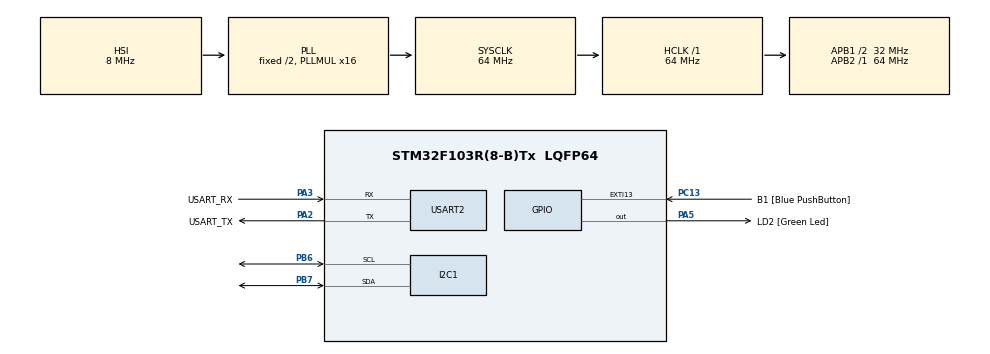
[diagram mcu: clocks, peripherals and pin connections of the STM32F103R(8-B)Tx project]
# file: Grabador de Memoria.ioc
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Mcu.Family=STM32F1
Mcu.Name=STM32F103R(8-B)Tx
Mcu.Package=LQFP64
NVIC.EXTI15_10_IRQn=true\:0\:0\:false\:false\:true\:true\:true\:true
NVIC.PriorityGroup=NVIC_PRIORITYGROUP_4
PA13.GPIO_Label=TMS
PA13.Mode=Serial_Wire
PA13.Signal=SYS_JTMS-SWDIO
PA14.GPIO_Label=TCK
PA14.Mode=Serial_Wire
PA14.Signal=SYS_JTCK-SWCLK
PA2.GPIO_Label=USART_TX
PA2.GPIO_Mode=GPIO_MODE_AF_PP
PA2.GPIO_PuPd=GPIO_NOPULL
PA2.GPIO_Speed=GPIO_SPEED_FREQ_LOW
PA2.Mode=Asynchronous
PA2.Signal=USART2_TX
PA3.GPIO_Label=USART_RX
PA3.GPIO_Mode=GPIO_MODE_AF_PP
PA3.GPIO_PuPd=GPIO_NOPULL
PA3.GPIO_Speed=GPIO_SPEED_FREQ_LOW
PA3.Mode=Asynchronous
PA3.Signal=USART2_RX
PA5.GPIO_Label=LD2 [Green Led]
PA5.GPIO_ModeDefaultOutputPP=GPIO_MODE_OUTPUT_PP
PA5.GPIO_PuPd=GPIO_NOPULL
PA5.GPIO_Speed=GPIO_SPEED_FREQ_LOW
PA5.Signal=GPIO_Output
PB3.GPIO_Label=SWO
PB3.Signal=SYS_JTDO-TRACESWO
PB6.Mode=I2C
PB6.Signal=I2C1_SCL
PB7.Mode=I2C
PB7.Signal=I2C1_SDA
PC13-TAMPER-RTC.GPIO_Label=B1 [Blue PushButton]
PC13-TAMPER-RTC.GPIO_PuPd=GPIO_NOPULL
PC13-TAMPER-RTC.Signal=GPXTI13
PC14-OSC32_IN.Mode=LSE-External-Oscillator
PC14-OSC32_IN.Signal=RCC_OSC32_IN
PC15-OSC32_OUT.Mode=LSE-External-Oscillator
PC15-OSC32_OUT.Signal=RCC_OSC32_OUT
PD0-OSC_IN.Mode=HSE-External-Clock-Source
PD0-OSC_IN.Signal=RCC_OSC_IN
PD1-OSC_OUT.Mode=HSE-External-Clock-Source
PD1-OSC_OUT.Signal=RCC_OSC_OUT
ProjectManager.HeapSize=0x200
ProjectManager.StackSize=0x400
ProjectManager.TargetToolchain=STM32CubeIDE
RCC.AHBFreq_Value=64000000
RCC.APB1CLKDivider=RCC_HCLK_DIV2
RCC.APB1Freq_Value=32000000
RCC.APB1TimFreq_Value=64000000
RCC.APB2Freq_Value=64000000
RCC.APB2TimFreq_Value=64000000
RCC.HCLKFreq_Value=64000000
RCC.PLLMUL=RCC_PLL_MUL16
RCC.RTCClockSelection=RCC_RTCCLKSOURCE_LSE
RCC.SYSCLKFreq_VALUE=64000000
RCC.SYSCLKSource=RCC_SYSCLKSOURCE_PLLCLK
RCC.USBFreq_Value=64000000
USART2.VirtualMode=VM_ASYNC
board=NUCLEO-F103RB

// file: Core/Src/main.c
/* USER CODE BEGIN Header */
/**
  ******************************************************************************
  * @file           : main.c
  * @brief          : Main program body
  ******************************************************************************
  * @attention
  *
  * Copyright (c) 2026 STMicroelectronics.
  * All rights reserved.
  *
  * This software is licensed under terms that can be found in the LICENSE file
  * in the root directory of this software component.
  * If no LICENSE file comes with this software, it is provided AS-IS.
  *
  ******************************************************************************
  */
/* USER CODE END Header */
#include "main.h"
#include "i2c.h"
#include "usart.h"
#include "gpio.h"

/* USER CODE BEGIN Includes */
#include "morse.h"
#include <stdint.h>
/* USER CODE END Includes */

/* USER CODE BEGIN PD */
#define READ
#define WRITE
/* USER CODE END PD */

void SystemClock_Config(void);

int main(void)
{

  /* MCU Configuration--------------------------------------------------------*/

  /* Reset of all peripherals, Initializes the Flash interface and the Systick. */
  HAL_Init();

  /* Configure the system clock */
  SystemClock_Config();

  /* Initialize all configured peripherals */
  MX_GPIO_Init();
  MX_I2C1_Init();
  MX_USART2_UART_Init();

  /* Infinite loop */
  while (1)
  {

    /* USER CODE BEGIN 3 */
	#ifdef WRITE
	  for (uint8_t i = 0 ; i < MORSE_TOTAL_SPACE_BYTES/2 ; i+=2 ){
		  EEPROM_WriteByte( i, error.morse);
		  EEPROM_WriteByte( i+1, error.symbol);
	  };

	  for (uint8_t i = 0 ; i < MORSE_TOTAL_CHARACTERS ; i++ ){
		EEPROM_WriteByte( morse_table[i].index*2, morse_table[i].morse);
		EEPROM_WriteByte( morse_table[i].index*2 + 1, morse_table[i].symbol);
	  };
	  for (uint8_t i = 0 ; i < MORSE_TOTAL_CHARACTERS ; i++ ){
		EEPROM_WriteByte( morse_table_alphabet[i].index*2 + MORSE_TOTAL_SPACE_BYTES + 2, morse_table_alphabet[i].morse);
		EEPROM_WriteByte( morse_table_alphabet[i].index*2 + 1 + MORSE_TOTAL_SPACE_BYTES + 2, morse_table_alphabet[i].symbol);
	  };

	#endif
	#ifdef READ
	  uint8_t caracter , morse;
	  morse = EEPROM_ReadByte(0);
	  caracter = EEPROM_ReadByte(1);

	  morse = EEPROM_ReadByte(2);
	  caracter = EEPROM_ReadByte(3);

	  morse = EEPROM_ReadByte(4);
	  caracter = EEPROM_ReadByte(5);

	#endif
	  break;
  }
  /* USER CODE END 3 */
}

void SystemClock_Config(void)
{
  RCC_OscInitTypeDef RCC_OscInitStruct = {0};
  RCC_ClkInitTypeDef RCC_ClkInitStruct = {0};

  /** Initializes the RCC Oscillators according to the specified parameters
  * in the RCC_OscInitTypeDef structure.
  */
  RCC_OscInitStruct.OscillatorType = RCC_OSCILLATORTYPE_HSI;
  RCC_OscInitStruct.HSIState = RCC_HSI_ON;
  RCC_OscInitStruct.HSICalibrationValue = RCC_HSICALIBRATION_DEFAULT;
  RCC_OscInitStruct.PLL.PLLState = RCC_PLL_ON;
  RCC_OscInitStruct.PLL.PLLSource = RCC_PLLSOURCE_HSI_DIV2;
  RCC_OscInitStruct.PLL.PLLMUL = RCC_PLL_MUL16;
  if (HAL_RCC_OscConfig(&RCC_OscInitStruct) != HAL_OK)
  {
    Error_Handler();
  }

  /** Initializes the CPU, AHB and APB buses clocks
  */
  RCC_ClkInitStruct.ClockType = RCC_CLOCKTYPE_HCLK|RCC_CLOCKTYPE_SYSCLK
                              |RCC_CLOCKTYPE_PCLK1|RCC_CLOCKTYPE_PCLK2;
  RCC_ClkInitStruct.SYSCLKSource = RCC_SYSCLKSOURCE_PLLCLK;
  RCC_ClkInitStruct.AHBCLKDivider = RCC_SYSCLK_DIV1;
  RCC_ClkInitStruct.APB1CLKDivider = RCC_HCLK_DIV2;
  RCC_ClkInitStruct.APB2CLKDivider = RCC_HCLK_DIV1;

  if (HAL_RCC_ClockConfig(&RCC_ClkInitStruct, FLASH_LATENCY_2) != HAL_OK)
  {
    Error_Handler();
  }
}

void Error_Handler(void)
{
  __disable_irq();
  while (1)
  {
  }
}
